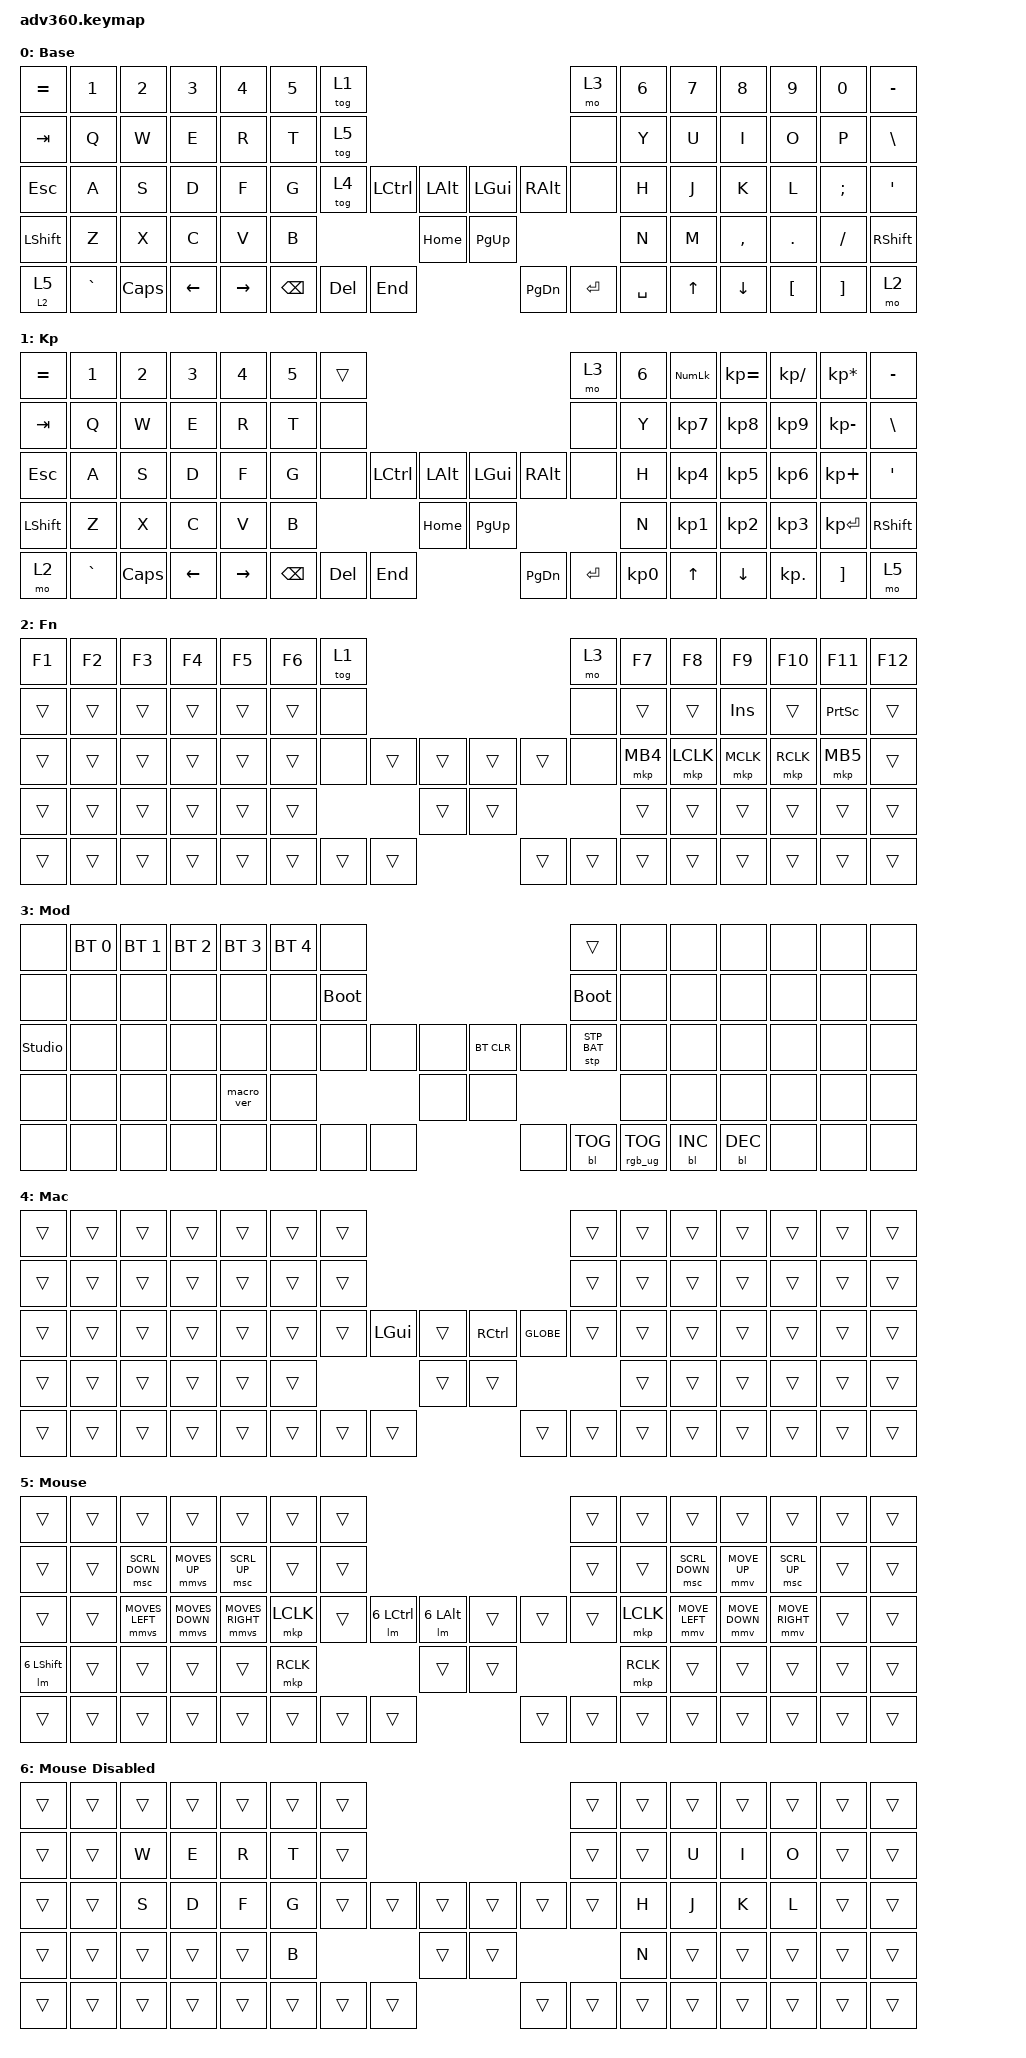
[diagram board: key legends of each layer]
#include <behaviors.dtsi>
#include <dt-bindings/zmk/keys.h>
#include <dt-bindings/zmk/bt.h>
#include <dt-bindings/zmk/rgb.h>
#include <dt-bindings/zmk/stp.h>
#include <dt-bindings/zmk/backlight.h>

#define ZMK_POINTING_DEFAULT_MOVE_VAL 1200  // default: 600
#define ZMK_POINTING_DEFAULT_SCRL_VAL 10    // default: 10

#define MOVES_UP MOVE_Y(-ZMK_POINTING_DEFAULT_MOVE_VAL/4)
#define MOVES_DOWN MOVE_Y(ZMK_POINTING_DEFAULT_MOVE_VAL/4)
#define MOVES_LEFT MOVE_X(-ZMK_POINTING_DEFAULT_MOVE_VAL/4)
#define MOVES_RIGHT MOVE_X(ZMK_POINTING_DEFAULT_MOVE_VAL/4)

#include <dt-bindings/zmk/pointing.h>

/ {
    behaviors {
      #include "macros.dtsi"
      #include "version.dtsi"

      hm: homerow_mods {
          compatible = "zmk,behavior-hold-tap";
          label = "HOMEROW_MODS";
          #binding-cells = <2>;
          tapping-term-ms = <200>;
          quick_tap_ms = <175>;
          flavor = "tap-preferred";
          bindings = <&kp>, <&kp>;
      };

      mo_tog: behavior_mo_tog {
            compatible = "zmk,behavior-hold-tap";
            #binding-cells = <2>;
            flavor = "hold-preferred";
            tapping-term-ms = <200>;
            bindings = <&mo>, <&tog>;
        };

      mmvs: mouse_move {
            compatible = "zmk,behavior-input-two-axis";
            #binding-cells = <1>;
            x-input-code = <INPUT_REL_X>;
            y-input-code = <INPUT_REL_Y>;
            time-to-max-speed-ms = <0>;
            acceleration-exponent = <0>;
        };

      

      lm: lm {
            compatible = "zmk,behavior-macro-two-param";
            wait-ms = <0>;
            tap-ms = <0>;
            #binding-cells = <2>;
            bindings
                = <&macro_param_1to1>
                , <&macro_press &mo MACRO_PLACEHOLDER>
                , <&macro_param_2to1>
                , <&macro_press &kp MACRO_PLACEHOLDER>
                , <&macro_pause_for_release>
                , <&macro_param_2to1>
                , <&macro_release &kp MACRO_PLACEHOLDER>
                , <&macro_param_1to1>
                , <&macro_release &mo MACRO_PLACEHOLDER>
                ;
        };

      lmt: lmt {
            compatible = "zmk,behavior-macro-one-param";
            wait-ms = <0>;
            tap-ms = <0>;
            #binding-cells = <1>;
            bindings
                = <&macro_param_1to1>
                , <&macro_press &mo MACRO_PLACEHOLDER>
                , <&macro_press &trans>
                , <&macro_pause_for_release>
                , <&macro_release &trans>
                , <&macro_param_1to1>
                , <&macro_release &mo MACRO_PLACEHOLDER>
                ;
        };

    };

  combos {
        compatible = "zmk,combos";
        combo_mouse_tog {
            timeout-ms = <50>;
            key-positions = <29 32>;
            bindings = <&tog 5>;
        };
    };

  keymap {
    compatible = "zmk,keymap";

    default_layer {
      display-name = "Base";
      bindings = <
        &kp EQUAL   &kp N1    &kp N2   &kp N3   &kp N4     &kp N5 &tog 1                                                           &mo 3 &kp N6 &kp N7 &kp N8    &kp N9   &kp N0   &kp MINUS
        &kp TAB     &kp Q     &kp W    &kp E    &kp R      &kp T  &tog 5                                                           &none &kp Y  &kp U  &kp I     &kp O    &kp P    &kp BSLH
        &kp ESC     &kp A     &kp S    &kp D    &kp F      &kp G  &tog 4          &kp LCTRL &kp LALT &kp LGUI  &kp RALT            &none &kp H  &kp J  &kp K     &kp L    &kp SEMI &kp SQT
        &kp LSHFT   &kp Z     &kp X    &kp C    &kp V      &kp B                            &kp HOME &kp PG_UP                           &kp N  &kp M  &kp COMMA &kp DOT  &kp FSLH &kp RSHFT
        &mo_tog 2 5 &kp GRAVE &kp CAPS &kp LEFT &kp RIGHT                &kp BSPC &kp DEL   &kp END  &kp PG_DN &kp ENTER &kp SPACE              &kp UP &kp DOWN  &kp LBKT &kp RBKT &mo 2
      >;
    };
    keypad {
      display-name = "Kp";
      bindings = <
        &kp EQUAL &kp N1    &kp N2   &kp N3   &kp N4     &kp N5 &trans                                                           &mo 3 &kp N6 &kp KP_NUM &kp KP_EQUAL &kp KP_DIVIDE &kp KP_MULTIPLY &kp MINUS
        &kp TAB   &kp Q     &kp W    &kp E    &kp R      &kp T  &none                                                            &none &kp Y  &kp KP_N7  &kp KP_N8    &kp KP_N9     &kp KP_MINUS    &kp BSLH
        &kp ESC   &kp A     &kp S    &kp D    &kp F      &kp G  &none           &kp LCTRL &kp LALT &kp LGUI  &kp RALT            &none &kp H  &kp KP_N4  &kp KP_N5    &kp KP_N6     &kp KP_PLUS     &kp SQT
        &kp LSHFT &kp Z     &kp X    &kp C    &kp V      &kp B                            &kp HOME &kp PG_UP                           &kp N  &kp KP_N1  &kp KP_N2    &kp KP_N3     &kp KP_ENTER    &kp RSHFT
        &mo 2     &kp GRAVE &kp CAPS &kp LEFT &kp RIGHT                &kp BSPC &kp DEL   &kp END  &kp PG_DN &kp ENTER &kp KP_N0              &kp UP     &kp DOWN     &kp KP_DOT    &kp RBKT        &mo 5
      >;
    };
    fn {
      display-name = "Fn";
      bindings = <
        &kp F1 &kp F2 &kp F3 &kp F4 &kp F5 &kp F6 &tog 1                                           &mo 3 &kp F7   &kp F8    &kp F9    &kp F10    &kp F11   &kp F12
        &trans &trans &trans &trans &trans &trans  &none                                           &none &trans   &trans    &kp INS   &trans     &kp PSCRN &trans
        &trans &trans &trans &trans &trans &trans  &none        &trans &trans &trans &trans        &none &mkp MB4 &mkp LCLK &mkp MCLK &mkp RCLK  &mkp MB5  &trans
        &trans &trans &trans &trans &trans &trans                      &trans &trans                     &trans   &trans    &trans    &trans     &trans    &trans
        &trans &trans &trans &trans &trans               &trans &trans &trans &trans &trans &trans                &trans    &trans    &trans     &trans    &trans
      >;
    };
    mod {
      display-name = "Mod";
      bindings = <
        &none &bt BT_SEL 0 &bt BT_SEL 1 &bt BT_SEL 2 &bt BT_SEL 3 &bt BT_SEL 4 &none                                                                     &trans                 &none        &none        &none        &none &none &none
        &none &none        &none        &none        &none        &none        &bootloader                                                               &bootloader            &none        &none        &none        &none &none &none
        &studio_unlock     &none        &none        &none        &none        &none        &none                   &none &none &bt BT_CLR &none                      &stp STP_BAT &none        &none        &none        &none &none &none
        &none &none        &none        &none        &macro_ver   &none                                      &none &none                                                        &none        &none        &none        &none &none &none
        &none &none        &none        &none        &none                                       &none &none &none &none      &bl BL_TOG &rgb_ug RGB_TOG                                     &bl BL_INC   &bl BL_DEC   &none &none &none
      >;
    };
    mac {
      display-name = "Mac";
      bindings = <
        &trans &trans &trans &trans &trans &trans &trans                                                &trans &trans &trans &trans &trans &trans &trans
        &trans &trans &trans &trans &trans &trans &trans                                                &trans &trans &trans &trans &trans &trans &trans
        &trans &trans &trans &trans &trans &trans &trans        &kp LGUI &trans &kp RCTRL &kp GLOBE        &trans &trans &trans &trans &trans &trans &trans
        &trans &trans &trans &trans &trans &trans                        &trans &trans                         &trans &trans &trans &trans &trans &trans
        &trans &trans &trans &trans &trans               &trans &trans   &trans &trans    &trans &trans               &trans &trans &trans &trans &trans
      >;
    };
    mouse {
      display-name = "Mouse";
      bindings = <
        &trans &trans &trans           &trans           &trans            &trans    &trans                                             &trans &trans         &trans         &trans         &trans          &trans          &trans
        &trans &trans &msc SCRL_DOWN   &mmvs MOVES_UP   &msc SCRL_UP      &trans    &trans                                             &trans &trans         &msc SCRL_DOWN &mmv MOVE_UP   &msc SCRL_UP    &trans          &trans
        &trans &trans &mmvs MOVES_LEFT &mmvs MOVES_DOWN &mmvs MOVES_RIGHT &mkp LCLK &trans         &lm 6 LCTRL &lm 6 LALT &trans &trans         &trans &mkp LCLK      &mmv MOVE_LEFT &mmv MOVE_DOWN &mmv MOVE_RIGHT &trans          &trans
        &lm 6 LSHFT &trans &trans           &trans           &trans            &mkp RCLK                       &trans &trans                       &mkp RCLK      &trans         &trans         &trans          &trans          &trans
        &trans &trans &trans           &trans           &trans                              &trans &trans &trans &trans &trans &trans                        &trans         &trans         &trans          &trans          &trans
      >;
    };
    mouse_disabled {
      display-name = "Mouse Disabled";
      bindings = <
        &trans &trans &trans &trans &trans &trans &trans                                             &trans &trans         &trans         &trans         &trans          &trans          &trans
        &trans &trans &kp W  &kp E  &kp R  &kp T  &trans                                             &trans &trans         &kp U          &kp I          &kp O           &trans          &trans
        &trans &trans &kp S  &kp D  &kp F  &kp G  &trans         &trans &trans &trans &trans         &trans &kp H          &kp J          &kp K          &kp L           &trans          &trans
        &trans &trans &trans &trans &trans &kp B                        &trans &trans                       &kp N          &trans         &trans         &trans          &trans          &trans
        &trans &trans &trans &trans &trans                &trans &trans &trans &trans &trans &trans                        &trans         &trans         &trans          &trans          &trans
      >;
    };
    extra1 { 
      display-name = "Red";    
      status = "reserved";
    };

    extra2 { 
      display-name = "Purple";    
      status = "reserved";
    };

    extra3 { 
      display-name = "Cyan";    
      status = "reserved";
    };

    extra4 { 
      display-name = "Yellow";    
      status = "reserved";
    };
  };
};
